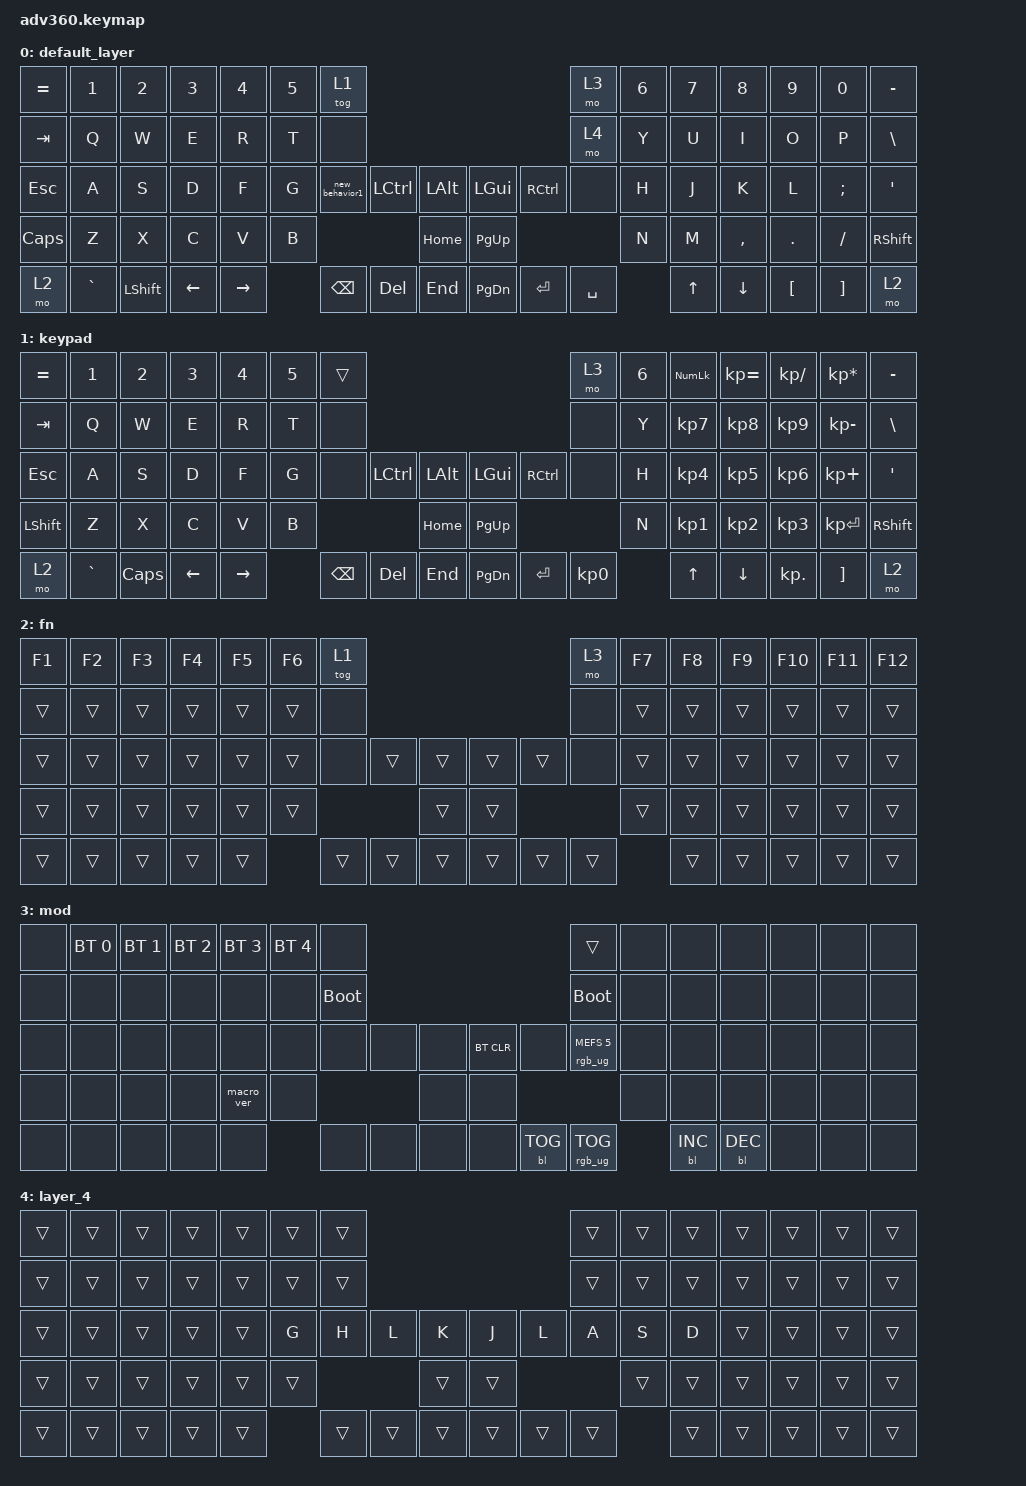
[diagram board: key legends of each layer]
#include <behaviors.dtsi>
#include <dt-bindings/zmk/backlight.h>
#include <dt-bindings/zmk/bt.h>
#include <dt-bindings/zmk/keys.h>
#include <dt-bindings/zmk/rgb.h>

/ {
    behaviors {
        #include "macros.dtsi"
      #include "version.dtsi"
      #ifndef VERSION_MACRO

        macro_ver: macro_ver {
            compatible = "zmk,behavior-macro";
            label = "macro_version";
            #binding-cells = <0>;
            bindings = <&kp RET>;
        };

        say_hello: Test1 {
            compatible = "zmk,behavior-macro";
            #binding-cells = <0>;
            bindings = <&none &kp LS(H) &kp E &kp L &kp L &kp O>;
            label = "TEST1";
        };

        new_macro_welcome: new_macro_welcome {
            compatible = "zmk,behavior-macro";
            #binding-cells = <0>;
            bindings = <&caps_word &kp W &kp E &kp L &kp C &kp O &kp M &kp E>;
            label = "NEW_MACRO_WELCOME";
        };

        #endif

        hm: homerow_mods {
            compatible = "zmk,behavior-hold-tap";
            label = "HOMEROW_MODS";
            #binding-cells = <2>;
            tapping-term-ms = <200>;
            quick_tap_ms = <175>;
            flavor = "tap-preferred";
            bindings = <&kp>, <&kp>;
        };

        new_behavior1: new_behavior1 {
            compatible = "zmk,behavior-tap-dance";
            label = "NEW_BEHAVIOR1";
            #binding-cells = <0>;
            bindings = <&kp B>, <&macro_ver>;
        };
    };

    macros {
    };

    combos {
        compatible = "zmk,combos";

        say_hello {
            bindings = <&say_hello>;
            key-positions = <35 33>;
            timeout-ms = <50>;
        };
    };

    keymap {
        compatible = "zmk,keymap";

        default_layer {
            bindings = <
&kp EQUAL  &kp N1     &kp N2     &kp N3    &kp N4     &kp N5  &tog 1                                                         &mo 3      &kp N6  &kp N7  &kp N8     &kp N9    &kp N0    &kp MINUS
&kp TAB    &kp Q      &kp W      &kp E     &kp R      &kp T   &none                                                          &mo 4      &kp Y   &kp U   &kp I      &kp O     &kp P     &kp BSLH
&kp ESC    &kp A      &kp S      &kp D     &kp F      &kp G   &new_behavior1  &kp LCTRL  &kp LALT      &kp LGUI   &kp RCTRL  &none      &kp H   &kp J   &kp K      &kp L     &kp SEMI  &kp SQT
&kp CAPS   &kp Z      &kp X      &kp C     &kp V      &kp B                              &kp HOME      &kp PG_UP                        &kp N   &kp M   &kp COMMA  &kp DOT   &kp FSLH  &kp RSHFT
&mo 2      &kp GRAVE  &kp LSHFT  &kp LEFT  &kp RIGHT          &kp BSPC        &kp DEL    &kp END       &kp PG_DN  &kp ENTER  &kp SPACE          &kp UP  &kp DOWN   &kp LBKT  &kp RBKT  &mo 2
            >;
        };

        keypad {
            bindings = <
&kp EQUAL  &kp N1     &kp N2    &kp N3    &kp N4     &kp N5  &trans                                                   &mo 3      &kp N6  &kp KP_NUM  &kp KP_EQUAL  &kp KP_DIVIDE  &kp KP_MULTIPLY  &kp MINUS
&kp TAB    &kp Q      &kp W     &kp E     &kp R      &kp T   &none                                                    &none      &kp Y   &kp KP_N7   &kp KP_N8     &kp KP_N9      &kp KP_MINUS     &kp BSLH
&kp ESC    &kp A      &kp S     &kp D     &kp F      &kp G   &none     &kp LCTRL  &kp LALT      &kp LGUI   &kp RCTRL  &none      &kp H   &kp KP_N4   &kp KP_N5     &kp KP_N6      &kp KP_PLUS      &kp SQT
&kp LSHFT  &kp Z      &kp X     &kp C     &kp V      &kp B                        &kp HOME      &kp PG_UP                        &kp N   &kp KP_N1   &kp KP_N2     &kp KP_N3      &kp KP_ENTER     &kp RSHFT
&mo 2      &kp GRAVE  &kp CAPS  &kp LEFT  &kp RIGHT          &kp BSPC  &kp DEL    &kp END       &kp PG_DN  &kp ENTER  &kp KP_N0          &kp UP      &kp DOWN      &kp KP_DOT     &kp RBKT         &mo 2
            >;
        };

        fn {
            bindings = <
&kp F1  &kp F2  &kp F3  &kp F4  &kp F5  &kp F6  &tog 1                                      &mo 3   &kp F7  &kp F8  &kp F9  &kp F10  &kp F11  &kp F12
&trans  &trans  &trans  &trans  &trans  &trans  &none                                       &none   &trans  &trans  &trans  &trans   &trans   &trans
&trans  &trans  &trans  &trans  &trans  &trans  &none   &trans  &trans      &trans  &trans  &none   &trans  &trans  &trans  &trans   &trans   &trans
&trans  &trans  &trans  &trans  &trans  &trans                  &trans      &trans                  &trans  &trans  &trans  &trans   &trans   &trans
&trans  &trans  &trans  &trans  &trans          &trans  &trans  &trans      &trans  &trans  &trans          &trans  &trans  &trans   &trans   &trans
            >;
        };

        mod {
            bindings = <
&none  &bt BT_SEL 0  &bt BT_SEL 1  &bt BT_SEL 2  &bt BT_SEL 3  &bt BT_SEL 4  &none                                                  &trans                  &none  &none       &none       &none  &none  &none
&none  &none         &none         &none         &none         &none         &bootloader                                            &bootloader             &none  &none       &none       &none  &none  &none
&none  &none         &none         &none         &none         &none         &none        &none  &none      &bt BT_CLR  &none       &rgb_ug RGB_MEFS_CMD 5  &none  &none       &none       &none  &none  &none
&none  &none         &none         &none         &macro_ver    &none                             &none      &none                                           &none  &none       &none       &none  &none  &none
&none  &none         &none         &none         &none                       &none        &none  &none      &none       &bl BL_TOG  &rgb_ug RGB_TOG                &bl BL_INC  &bl BL_DEC  &none  &none  &none
            >;
        };

        layer_4 {
            bindings = <
&trans  &trans  &trans  &trans  &trans  &trans  &trans                                      &trans  &trans  &trans  &trans  &trans  &trans  &trans
&trans  &trans  &trans  &trans  &trans  &trans  &trans                                      &trans  &trans  &trans  &trans  &trans  &trans  &trans
&trans  &trans  &trans  &trans  &trans  &kp G   &kp H   &kp L   &kp K       &kp J   &kp L   &kp A   &kp S   &kp D   &trans  &trans  &trans  &trans
&trans  &trans  &trans  &trans  &trans  &trans                  &trans      &trans                  &trans  &trans  &trans  &trans  &trans  &trans
&trans  &trans  &trans  &trans  &trans          &trans  &trans  &trans      &trans  &trans  &trans          &trans  &trans  &trans  &trans  &trans
            >;
        };
    };
};
